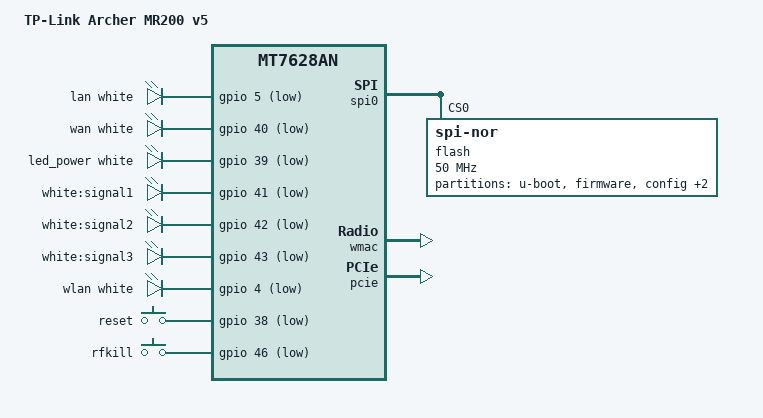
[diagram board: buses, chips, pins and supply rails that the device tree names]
// SPDX-License-Identifier: GPL-2.0-or-later OR MIT

#include "mt7628an.dtsi"

#include <dt-bindings/input/input.h>
#include <dt-bindings/gpio/gpio.h>
#include <dt-bindings/leds/common.h>

/ {
	compatible = "tplink,archer-mr200-v5", "mediatek,mt7628an-soc";
	model = "TP-Link Archer MR200 v5";

	aliases {
		led-boot = &led_power;
		led-failsafe = &led_power;
		led-running = &led_power;
		led-upgrade = &led_power;
		label-mac-device = &ethernet;
	};
	
	chosen {
		bootargs = "console=ttyS0,115200";
	};

	leds {
		compatible = "gpio-leds";

		lan {
			function = LED_FUNCTION_LAN;
			color = <LED_COLOR_ID_WHITE>;
			gpios = <&gpio 5 GPIO_ACTIVE_LOW>;
		};

		wan {
			function = LED_FUNCTION_WAN;
			color = <LED_COLOR_ID_WHITE>;
			gpios = <&gpio 40 GPIO_ACTIVE_LOW>;
		};

		led_power: power {
			function = LED_FUNCTION_POWER;
			color = <LED_COLOR_ID_WHITE>;
			gpios = <&gpio 39 GPIO_ACTIVE_LOW>;
		};

		signal1 {
			label = "white:signal1";
			gpios = <&gpio 41 GPIO_ACTIVE_LOW>;
		};

		signal2 {
			label = "white:signal2";
			gpios = <&gpio 42 GPIO_ACTIVE_LOW>;
		};

		signal3 {
			label = "white:signal3";
			gpios = <&gpio 43 GPIO_ACTIVE_LOW>;
		};

		wlan {
			function = LED_FUNCTION_WLAN;
			color = <LED_COLOR_ID_WHITE>;
			gpios = <&gpio 4 GPIO_ACTIVE_LOW>;
			linux,default-trigger = "phy0tpt";
		};
	};

	keys {
		compatible = "gpio-keys";

		reset {
			label = "reset";
			gpios = <&gpio 38 GPIO_ACTIVE_LOW>;
			linux,code = <KEY_RESTART>;
		};

		rfkill {
			label = "rfkill";
			gpios = <&gpio 46 GPIO_ACTIVE_LOW>;
			linux,code = <KEY_RFKILL>;
		};
	};	
};

&spi0 {
	status = "okay";

	flash@0 {
		compatible = "jedec,spi-nor";
		reg = <0>;
		spi-max-frequency = <50000000>;
		m25p,fast-read;

		partitions {
			compatible = "fixed-partitions";
			#address-cells = <1>;
			#size-cells = <1>;

			partition@0 {
				label = "u-boot";
				reg = <0x0 0x20000>;
				read-only;
			};

			partition@20000 {
				compatible = "tplink,firmware";
				label = "firmware";
				reg = <0x20000 0x7b0000>;
			};

			partition@7d0000 {
				label = "config";
				reg = <0x7d0000 0x10000>;
				read-only;
			};

			partition@7e0000 {
				label = "romfile";
				reg = <0x7e0000 0x10000>;
				read-only;

				nvmem-layout {
					compatible = "fixed-layout";
					#address-cells = <1>;
					#size-cells = <1>;

					macaddr_romfile_f100: macaddr@f100 {
						compatible = "mac-base";
						reg = <0xf100 0x6>;
						#nvmem-cell-cells = <1>;
					};
				};
			};

			partition@7f0000 {
				label = "radio";
				reg = <0x7f0000 0x10000>;
				read-only;

				nvmem-layout {
					compatible = "fixed-layout";
					#address-cells = <1>;
					#size-cells = <1>;

					eeprom_radio_0: eeprom@0 {
						reg = <0x0 0x400>;
					};

					eeprom_radio_8000: eeprom@8000 {
						reg = <0x8000 0x200>;
					};
				};
			};
		};
	};
};

&state_default {
	gpio {
		groups = "i2c", "p0led_an", "p1led_an", "p2led_an", "p3led_an", "p4led_an", "uart1", "wdt";
		function = "gpio";
	};
};

&wmac {
	nvmem-cells = <&eeprom_radio_0>, <&macaddr_romfile_f100 0>;
	nvmem-cell-names = "eeprom", "mac-address";
	status = "okay";
};

&esw {
	mediatek,portdisable = <0x30>;
};

&ethernet {
	nvmem-cells = <&macaddr_romfile_f100 0>;
	nvmem-cell-names = "mac-address";
};

&pcie {
	status = "okay";
};

&pcie0 {
	mt76@0,0 {
		reg = <0x0000 0 0 0 0>;
		ieee80211-freq-limit = <5000000 6000000>;
		nvmem-cells = <&eeprom_radio_8000>, <&macaddr_romfile_f100 (-1)>;
		nvmem-cell-names = "eeprom", "mac-address";
	};
};
